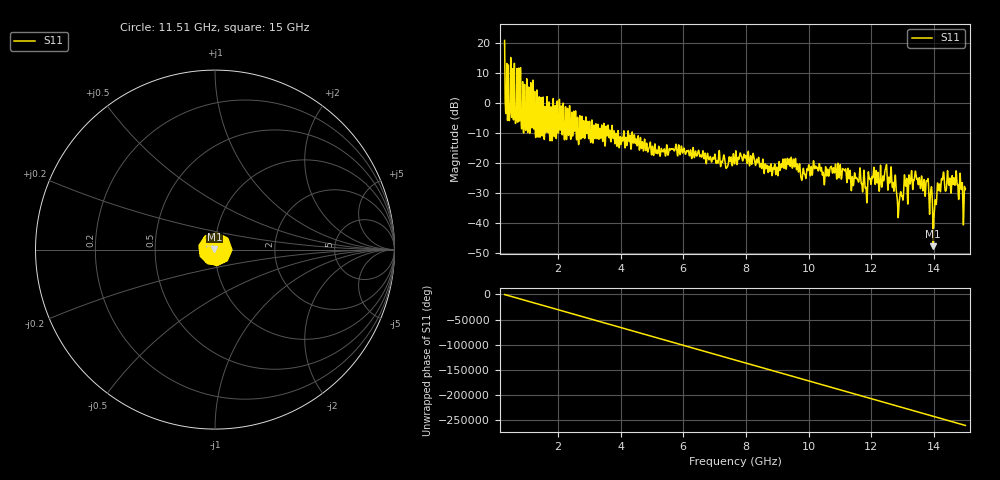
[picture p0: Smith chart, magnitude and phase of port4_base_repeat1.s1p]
# GHZ S RI R 50.0
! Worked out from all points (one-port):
!   12801 points, 300 MHz to 15 GHz, reference 50 ohm
!   lowest |S11| = -47.7 dB at 13.97 GHz (marker M1), VSWR 1.01, Z = 49.7 + j0.281 ohm
!   |S11| at or under -10 dB: 3.925 GHz to 4.096 GHz (170.7 MHz wide, 4.26 % of centre); 4.111 GHz to 4.231 GHz (120.2 MHz wide, 2.88 % of centre); 4.375 GHz to end of sweep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
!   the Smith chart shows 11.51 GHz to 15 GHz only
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0.3  -10.05 -4.454
0.3746484  1.539 -1.214
0.3780938  -0.3049 -1.226
0.4182891  -2.881 -3.188
0.4240313  0.3534 1.608
0.7490391  -0.0456 1.387
0.9075234  -0.2071 -0.2454
2.1375  0.2194 0.1985
3.975  -0.0303 -0.2347
5.8125  -0.0826 0.1053
7.65  0.0416 -0.0989
8.963812  0.00064 0.0682
9.4875  -0.0839 -0.0119
9.810211  -0.0645 0.0221
10.20872  0.0548 -0.0664
11.325  0.0466 0.0585
11.8039  -0.0318 0.0216
12.43324  -0.0596 0.0438
12.69738  -0.041 -0.0232
12.87424  -0.0112 -0.0132
13.1625  -0.00286 0.0206
13.7505  -0.0503 0.00521
13.971  -0.00303 0.00282
14.02268  0.0013 -0.0202
14.10307  0.01 -0.0404
14.27648  -0.0164 0.0542
14.64858  0.0356 0.0313
15  0.0354 -0.011
